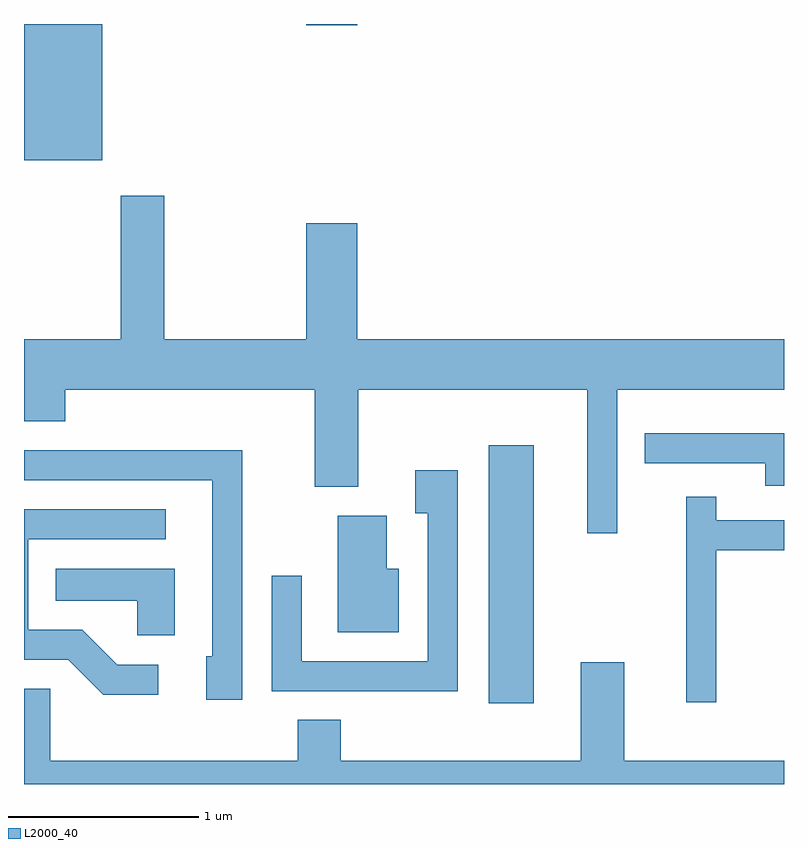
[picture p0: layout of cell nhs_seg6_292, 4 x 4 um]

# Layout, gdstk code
import gdstk
lib = gdstk.Library(unit=1e-6, precision=1e-09)
def R(c, l, rs):  # rectangles x0, y0, x1, y1
    for r in rs: c.add(gdstk.rectangle(r[:2], r[2:], *l))
def P(c, l, *ps):  # polygons
    for p in ps: c.add(gdstk.Polygon(p, *l))
L2000_40 = (2000, 40)

nhs_seg6_292 = lib.new_cell('nhs_seg6_292')
R(nhs_seg6_292, L2000_40, [(196.056,1570.586,196.294,1571.944), (193.611,1573.446,194.024,1574.162), (195.096,1574.156,195.364,1574.162)])
P(nhs_seg6_292, L2000_40, [(196.734,1572.236),(197.611,1572.236),(197.611,1572.504),(195.364,1572.504),(195.364,1573.114),(195.096,1573.114),(195.096,1572.504),(194.349,1572.504),(194.349,1573.259),(194.121,1573.259),(194.121,1572.504),(193.611,1572.504),(193.611,1572.071),(193.829,1572.071),(193.829,1572.236),(195.141,1572.236),(195.141,1571.726),(195.369,1571.726),(195.369,1572.236),(196.576,1572.236),(196.576,1571.483),(196.734,1571.483)],
  [(197.611,1572.009),(196.878,1572.009),(196.878,1571.851),(197.511,1571.851),(197.511,1571.731),(197.611,1571.731)],
  [(194.759,1571.919),(193.611,1571.919),(193.611,1571.761),(194.601,1571.761),(194.601,1570.834),(194.571,1570.834),(194.571,1570.606),(194.759,1570.606)],
  [(195.894,1571.814),(195.671,1571.814),(195.671,1571.586),(195.736,1571.586),(195.736,1570.809),(195.074,1570.809),(195.074,1571.258),(194.916,1571.258),(194.916,1570.651),(195.894,1570.651)],
  [(197.254,1571.391),(197.611,1571.391),(197.611,1571.549),(197.254,1571.549),(197.254,1571.673),(197.096,1571.673),(197.096,1570.593),(197.254,1570.593)],
  [(194.318,1570.789),(194.102,1570.789),(193.917,1570.974),(193.634,1570.974),(193.634,1571.451),(194.358,1571.451),(194.358,1571.609),(193.611,1571.609),(193.611,1570.816),(193.844,1570.816),(194.029,1570.631),(194.318,1570.631)],
  [(195.584,1571.294),(195.519,1571.294),(195.519,1571.574),(195.261,1571.574),(195.261,1570.961),(195.584,1570.961)],
  [(194.404,1571.294),(193.778,1571.294),(193.778,1571.126),(194.206,1571.126),(194.206,1570.946),(194.404,1570.946)],
  [(197.611,1570.284),(196.769,1570.284),(196.769,1570.804),(196.541,1570.804),(196.541,1570.284),(195.279,1570.284),(195.279,1570.499),(195.051,1570.499),(195.051,1570.284),(193.749,1570.284),(193.749,1570.664),(193.611,1570.664),(193.611,1570.162),(197.611,1570.162)])

lib.write_gds('nhs_seg6_292.gds')
